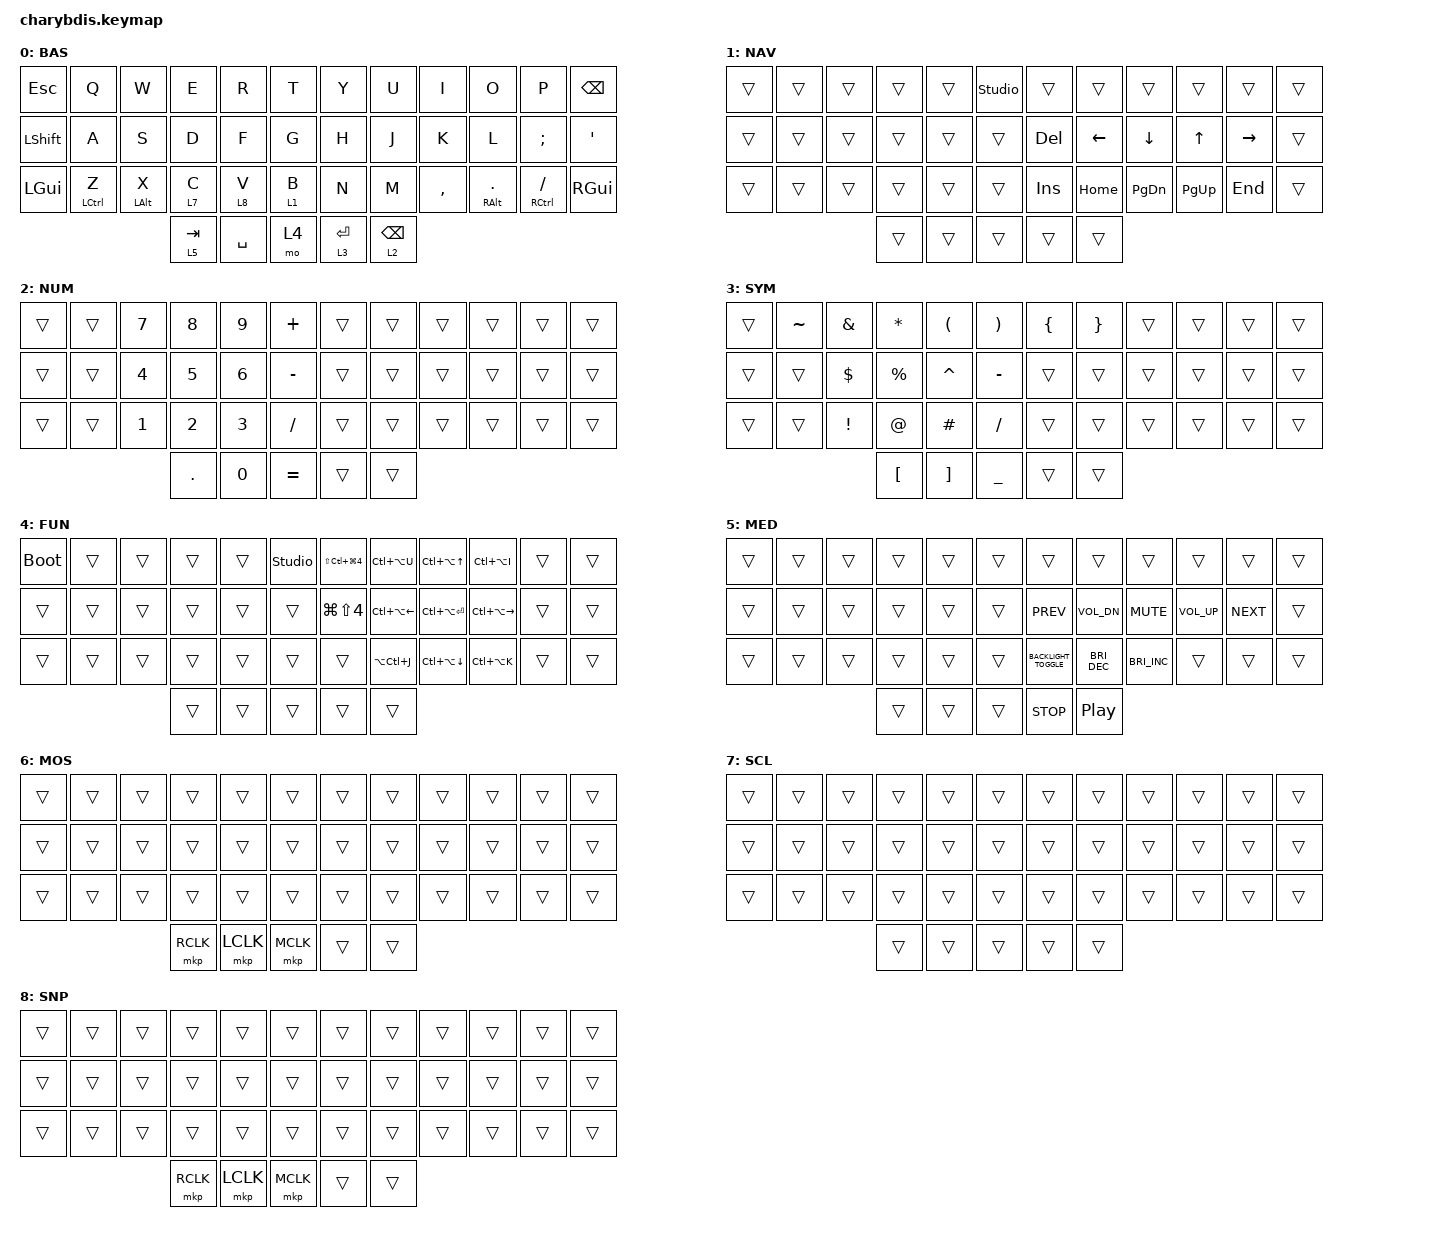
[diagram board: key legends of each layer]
#include <dt-bindings/zmk/mouse.h>
#include <input/processors.dtsi>
#include <dt-bindings/zmk/input_transform.h>
#include <zephyr/dt-bindings/input/input-event-codes.h>
#include <behaviors.dtsi>
#include <dt-bindings/zmk/keys.h>
#include <dt-bindings/zmk/pointing.h>

#define U_TAPPING_TERM 200

/ {
    zip_temp_layer: zip_temp_layer {
        compatible = "zmk,input-processor-temp-layer";
        #input-processor-cells = <2>;
        require-prior-idle-ms = <200>;
    };

    trackball_listener {
        compatible = "zmk,input-listener";
        device = <&trackball>;
        input-processors = <&zip_xy_scaler 1 2>, <&zip_temp_layer 6 600>;

        scroll {
            layers = <7>; // SCROLL
            input-processors =
                <&zip_xy_to_scroll_mapper>,
                <&zip_scroll_scaler 1 24>,
                <&zip_scroll_transform (INPUT_TRANSFORM_Y_INVERT)>;
        };

        sniping {
            layers = <8>; // SNIPING 
            input-processors = <&zip_xy_scaler 1 8>;
        };
    };

    combos { compatible = "zmk,combos"; };

    behaviors {
        u_mt: u_mt {
            compatible = "zmk,behavior-hold-tap";
            label = "u_mt";
            #binding-cells = <2>;
            tapping_term_ms = <U_TAPPING_TERM>;
            flavor = "tap-preferred";
            bindings = <&kp>, <&kp>;
        };

        u_lt: u_lt {
            compatible = "zmk,behavior-hold-tap";
            label = "u_lt";
            #binding-cells = <2>;
            tapping_term_ms = <U_TAPPING_TERM>;
            flavor = "tap-preferred";
            bindings = <&mo>, <&kp>;
        };

        Shift_Enter: Shift_Enter {
            compatible = "zmk,behavior-hold-tap";
            label = "SHIFT_ENTER";
            bindings = <&kp>, <&kp>;

            #binding-cells = <2>;
            hold-trigger-key-positions = <40>;
            tapping-term-ms = <100>;
        };
    };

    keymap {
        compatible = "zmk,keymap";

        BASE {
            display-name = "BAS";
            bindings = <
&kp ESC         &kp Q          &kp W             &kp E        &kp R      &kp T        &kp Y           &kp U              &kp I      &kp O                   &kp P                      &kp BSPC
&kp LEFT_SHIFT  &kp A          &kp S             &kp D        &kp F      &kp G        &kp H           &kp J              &kp K      &kp L                   &kp SEMICOLON              &kp APOS
&kp LEFT_GUI    &u_mt LCTRL Z  &u_mt LEFT_ALT X  &u_lt 7 C    &u_lt 8 V  &u_lt 1 B    &kp N           &kp M              &kp COMMA  &u_mt RIGHT_ALT PERIOD  &u_mt RIGHT_CONTROL SLASH  &kp RIGHT_GUI
                                                 &u_lt 5 TAB  &kp SPACE  &mo 4        &u_lt 3 RETURN  &u_lt 2 BACKSPACE
            >;
        };

        NAV {
            display-name = "NAV";
            bindings = <
&trans  &trans  &trans  &trans  &trans  &studio_unlock    &trans      &trans    &trans         &trans        &trans     &trans
&trans  &trans  &trans  &trans  &trans  &trans            &kp DELETE  &kp LEFT  &kp DOWN       &kp UP_ARROW  &kp RIGHT  &trans
&trans  &trans  &trans  &trans  &trans  &trans            &kp INS     &kp HOME  &kp PAGE_DOWN  &kp PAGE_UP   &kp END    &trans
                        &trans  &trans  &trans            &trans      &trans
            >;
        };

        NUM {
            display-name = "NUM";
            bindings = <
&trans  &trans  &kp N7        &kp N8        &kp N9        &kp PLUS     &trans  &trans  &trans  &trans  &trans  &trans
&trans  &trans  &kp NUMBER_4  &kp N5        &kp NUMBER_6  &kp MINUS    &trans  &trans  &trans  &trans  &trans  &trans
&trans  &trans  &kp NUMBER_1  &kp NUMBER_2  &kp NUMBER_3  &kp SLASH    &trans  &trans  &trans  &trans  &trans  &trans
                              &kp PERIOD    &kp N0        &kp EQUAL    &trans  &trans
            >;
        };

        SYM {
            display-name = "SYM";
            bindings = <
&trans  &kp TILDE  &kp AMPERSAND  &kp ASTERISK      &kp LEFT_PARENTHESIS  &kp RIGHT_PARENTHESIS    &kp LEFT_BRACE  &kp RIGHT_BRACE  &trans  &trans  &trans  &trans
&trans  &trans     &kp DOLLAR     &kp PERCENT       &kp CARET             &kp MINUS                &trans          &trans           &trans  &trans  &trans  &trans
&trans  &trans     &kp EXCL       &kp AT            &kp HASH              &kp SLASH                &trans          &trans           &trans  &trans  &trans  &trans
                                  &kp LEFT_BRACKET  &kp RIGHT_BRACKET     &kp UNDERSCORE           &trans          &trans
            >;
        };

        FUN {
            display-name = "FUN";
            bindings = <
&bootloader  &trans  &trans  &trans  &trans  &studio_unlock    &kp LS(LC(LG(NUMBER_4)))  &kp LC(LA(U))     &kp LC(LA(UP_ARROW))  &kp LC(LA(I))      &trans  &trans
&trans       &trans  &trans  &trans  &trans  &trans            &kp LG(LS(NUMBER_4))      &kp LC(LA(LEFT))  &kp LC(LA(RET))       &kp LC(LA(RIGHT))  &trans  &trans
&trans       &trans  &trans  &trans  &trans  &trans            &trans                    &kp LA(LC(J))     &kp LC(LA(DOWN))      &kp LC(LA(K))      &trans  &trans
                             &trans  &trans  &trans            &trans                    &trans
            >;
        };

        MEDIA {
            display-name = "MED";
            bindings = <
&trans  &trans  &trans  &trans  &trans  &trans    &trans                  &trans                &trans                &trans        &trans      &trans
&trans  &trans  &trans  &trans  &trans  &trans    &kp C_PREV              &kp C_VOL_DN          &kp K_MUTE            &kp C_VOL_UP  &kp C_NEXT  &trans
&trans  &trans  &trans  &trans  &trans  &trans    &kp C_BACKLIGHT_TOGGLE  &kp C_BRIGHTNESS_DEC  &kp C_BRIGHTNESS_INC  &trans        &trans      &trans
                        &trans  &trans  &trans    &kp C_STOP              &kp C_PLAY_PAUSE
            >;
        };

        AUTO-MOUSE {
            display-name = "MOS";
            bindings = <
&trans  &trans  &trans  &trans     &trans     &trans       &trans  &trans  &trans  &trans  &trans  &trans
&trans  &trans  &trans  &trans     &trans     &trans       &trans  &trans  &trans  &trans  &trans  &trans
&trans  &trans  &trans  &trans     &trans     &trans       &trans  &trans  &trans  &trans  &trans  &trans
                        &mkp RCLK  &mkp LCLK  &mkp MCLK    &trans  &trans
            >;
        };

        SCROLL {
            display-name = "SCL";
            bindings = <
&trans  &trans  &trans  &trans  &trans  &trans    &trans  &trans  &trans  &trans  &trans  &trans
&trans  &trans  &trans  &trans  &trans  &trans    &trans  &trans  &trans  &trans  &trans  &trans
&trans  &trans  &trans  &trans  &trans  &trans    &trans  &trans  &trans  &trans  &trans  &trans
                        &trans  &trans  &trans    &trans  &trans
            >;
        };

        SNIPING {
            display-name = "SNP";
            bindings = <
&trans  &trans  &trans  &trans     &trans     &trans       &trans  &trans  &trans  &trans  &trans  &trans
&trans  &trans  &trans  &trans     &trans     &trans       &trans  &trans  &trans  &trans  &trans  &trans
&trans  &trans  &trans  &trans     &trans     &trans       &trans  &trans  &trans  &trans  &trans  &trans
                        &mkp RCLK  &mkp LCLK  &mkp MCLK    &trans  &trans
            >;
        };
    };
};
